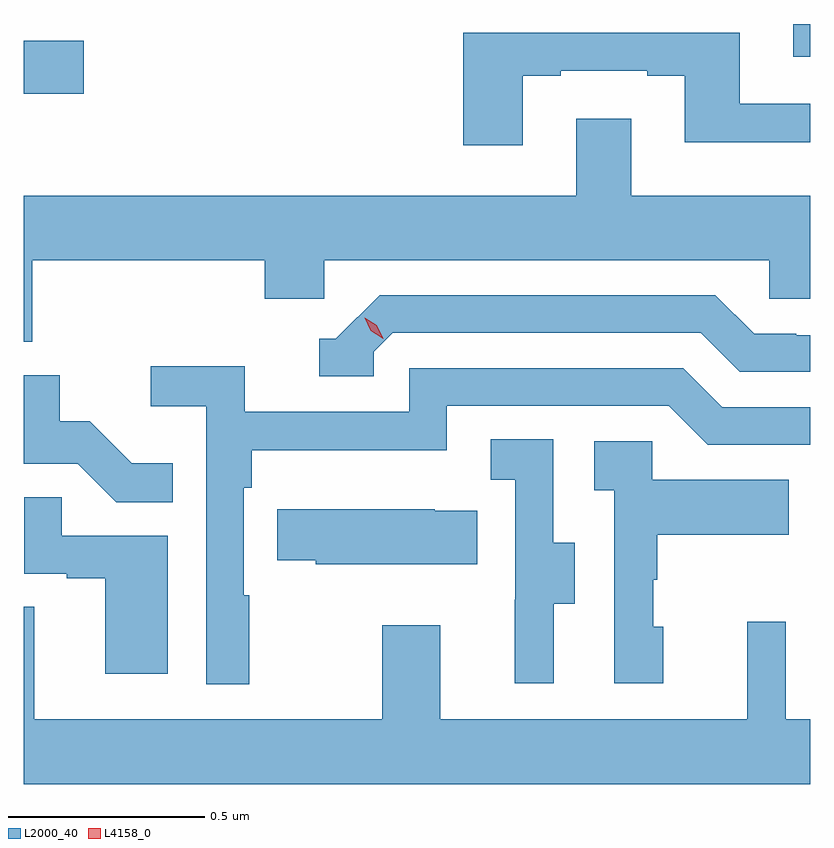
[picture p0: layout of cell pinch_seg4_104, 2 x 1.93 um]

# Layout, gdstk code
import gdstk
lib = gdstk.Library(unit=1e-6, precision=1e-09)
def R(c, l, rs):  # rectangles x0, y0, x1, y1
    for r in rs: c.add(gdstk.rectangle(r[:2], r[2:], *l))
def P(c, l, *ps):  # polygons
    for p in ps: c.add(gdstk.Polygon(p, *l))
L2000_40 = (2000, 40)
L4158_0 = (4158, 0)

pinch_seg4_104 = lib.new_cell('pinch_seg4_104')
R(pinch_seg4_104, L2000_40, [(1064.902,810.563,1065.055,810.698), (1066.859,810.657,1066.902,810.74)])
P(pinch_seg4_104, L2000_40, [(1066.171,810.609),(1066.267,810.609),(1066.267,810.621),(1066.487,810.621),(1066.487,810.609),(1066.583,810.609),(1066.583,810.44),(1066.902,810.44),(1066.902,810.537),(1066.723,810.537),(1066.723,810.718),(1066.019,810.718),(1066.019,810.432),(1066.171,810.432)],
  [(1064.924,810.14),(1065.515,810.14),(1065.515,810.042),(1065.666,810.042),(1065.666,810.14),(1066.797,810.14),(1066.797,810.042),(1066.902,810.042),(1066.902,810.304),(1066.447,810.304),(1066.447,810.499),(1066.307,810.499),(1066.307,810.304),(1064.902,810.304),(1064.902,809.932),(1064.924,809.932)],
  [(1065.792,809.907),(1065.84,809.955),(1066.623,809.955),(1066.722,809.856),(1066.902,809.856),(1066.902,809.949),(1066.866,809.949),(1066.866,809.952),(1066.759,809.952),(1066.66,810.051),(1065.807,810.051),(1065.696,809.94),(1065.653,809.94),(1065.653,809.844),(1065.792,809.844)],
  [(1065.475,809.288),(1065.462,809.288),(1065.462,809.561),(1065.482,809.561),(1065.482,809.657),(1065.978,809.657),(1065.978,809.769),(1066.542,809.769),(1066.641,809.67),(1066.902,809.67),(1066.902,809.766),(1066.678,809.766),(1066.579,809.865),(1065.882,809.865),(1065.882,809.754),(1065.464,809.754),(1065.464,809.87),(1065.225,809.87),(1065.225,809.768),(1065.366,809.768),(1065.366,809.061),(1065.475,809.061)],
  [(1065.281,809.623),(1065.177,809.623),(1065.07,809.73),(1064.994,809.73),(1064.994,809.847),(1064.902,809.847),(1064.902,809.622),(1065.039,809.622),(1065.137,809.524),(1065.281,809.524)],
  [(1066.249,809.266),(1066.303,809.266),(1066.303,809.421),(1066.248,809.421),(1066.248,809.684),(1066.089,809.684),(1066.089,809.581),(1066.152,809.581),(1066.152,809.277),(1066.151,809.277),(1066.151,809.064),(1066.249,809.064)],
  [(1066.528,809.208),(1066.503,809.208),(1066.503,809.327),(1066.513,809.327),(1066.513,809.441),(1066.847,809.441),(1066.847,809.581),(1066.5,809.581),(1066.5,809.679),(1066.353,809.679),(1066.353,809.555),(1066.404,809.555),(1066.404,809.064),(1066.528,809.064)],
  [(1065.268,809.439),(1064.999,809.439),(1064.999,809.537),(1064.904,809.537),(1064.904,809.343),(1065.011,809.343),(1065.011,809.331),(1065.11,809.331),(1065.11,809.088),(1065.268,809.088)],
  [(1066.055,809.503),(1065.947,809.503),(1065.947,809.506),(1065.547,809.506),(1065.547,809.377),(1065.645,809.377),(1065.645,809.366),(1066.055,809.366)],
  [(1066.902,808.972),(1066.839,808.972),(1066.839,809.221),(1066.742,809.221),(1066.742,808.972),(1065.961,808.972),(1065.961,809.212),(1065.814,809.212),(1065.814,808.972),(1064.929,808.972),(1064.929,809.258),(1064.902,809.258),(1064.902,808.808),(1066.902,808.808)])
P(pinch_seg4_104, L4158_0, [(1065.816,809.94),(1065.785,809.96),(1065.769,809.993),(1065.769,809.993),(1065.769,809.993),(1065.8,809.974),(1065.816,809.941),(1065.816,809.94)])

lib.write_gds('pinch_seg4_104.gds')
